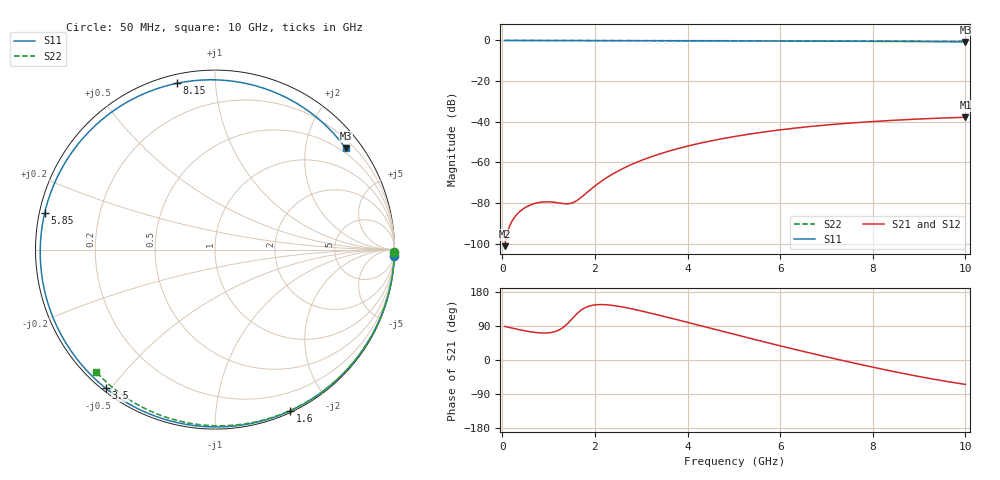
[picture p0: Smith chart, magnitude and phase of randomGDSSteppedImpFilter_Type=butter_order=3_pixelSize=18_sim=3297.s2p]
! freq	dB(S11)	phase(S11)	dB(S12)	phase(S12)
!  dB(S21)	phase(S21)	dB(S22)	phase(S22)
!S-par simulation data
#  GHz  S  DB  R 50
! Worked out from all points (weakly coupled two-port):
!   200 points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, 50 MHz to 10 GHz, reference 50 ohm
!   highest |S21| = -37.83 dB at 10 GHz (marker M1); lowest = -101.2 dB at 50 MHz (marker M2)
!   lowest |S11| = -0.7 dB at 10 GHz (marker M3), VSWR 24.28, Z = 19.4 + j144 ohm
!   |S11| at or under -10 dB: nowhere
!   |S22| runs from -0.4 to 0.0 dB; largest |S21 - S12| = 0
!   S11 on the Smith chart (normalised r, x): 50 MHz: 0, -53; 1.6 GHz: 0.02, -1.57; 3.5 GHz: 0.01, -0.49; 5.85 GHz: 0.02, +0.11; 8.15 GHz: 0.04, +0.80; 10 GHz: 0.39, +2.88
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0.05  -0.00 -2.1  -101.25 88.6  -101.25 88.6  -0.00 -0.8
0.4  -0.02 -17.0  -83.76 79.1  -83.76 79.1  -0.01 -6.1
0.75  -0.04 -31.5  -79.94 72.2  -79.94 72.2  -0.01 -11.5
1.15  -0.06 -47.7  -79.73 75.5  -79.73 75.5  -0.02 -17.6
1.5  -0.07 -61.3  -80.01 107.7  -80.01 107.7  -0.03 -22.8
1.6  -0.08 -65.1  -78.93 120.7  -78.93 120.7  -0.03 -24.3
1.75  -0.08 -70.7  -76.35 135.4  -76.35 135.4  -0.03 -26.6
2.1  -0.10 -83.3  -69.93 146.3  -69.93 146.3  -0.04 -31.8
2.45  -0.11 -95.3  -64.88 142.9  -64.88 142.9  -0.05 -36.9
2.9  -0.12 -109.9  -59.98 132.2  -59.98 132.2  -0.06 -43.4
3.4  -0.14 -125.2  -55.84 117.8  -55.84 117.8  -0.07 -50.6
3.5  -0.14 -128.2  -55.13 114.8  -55.13 114.8  -0.07 -52.0
4.25  -0.17 -149.5  -50.67 91.5  -50.67 91.5  -0.09 -62.4
5.05  -0.21 -171.0  -47.14 66.4  -47.14 66.4  -0.11 -73.2
5.85  -0.26 167.9  -44.44 41.9  -44.44 41.9  -0.14 -83.7
6.7  -0.32 145.1  -42.25 16.9  -42.25 16.9  -0.18 -94.5
7.5  -0.38 122.5  -40.68 -5.5  -40.68 -5.5  -0.23 -104.3
8.15  -0.44 102.8  -39.69 -22.8  -39.69 -22.8  -0.27 -112.1
8.35  -0.46 96.4  -39.42 -27.9  -39.42 -27.9  -0.29 -114.5
8.8  -0.51 81.6  -38.88 -38.9  -38.88 -38.9  -0.33 -119.9
9.2  -0.57 67.6  -38.46 -48.2  -38.46 -48.2  -0.36 -124.7
10  -0.72 37.8  -37.83 -64.5  -37.83 -64.5  -0.45 -134.3
